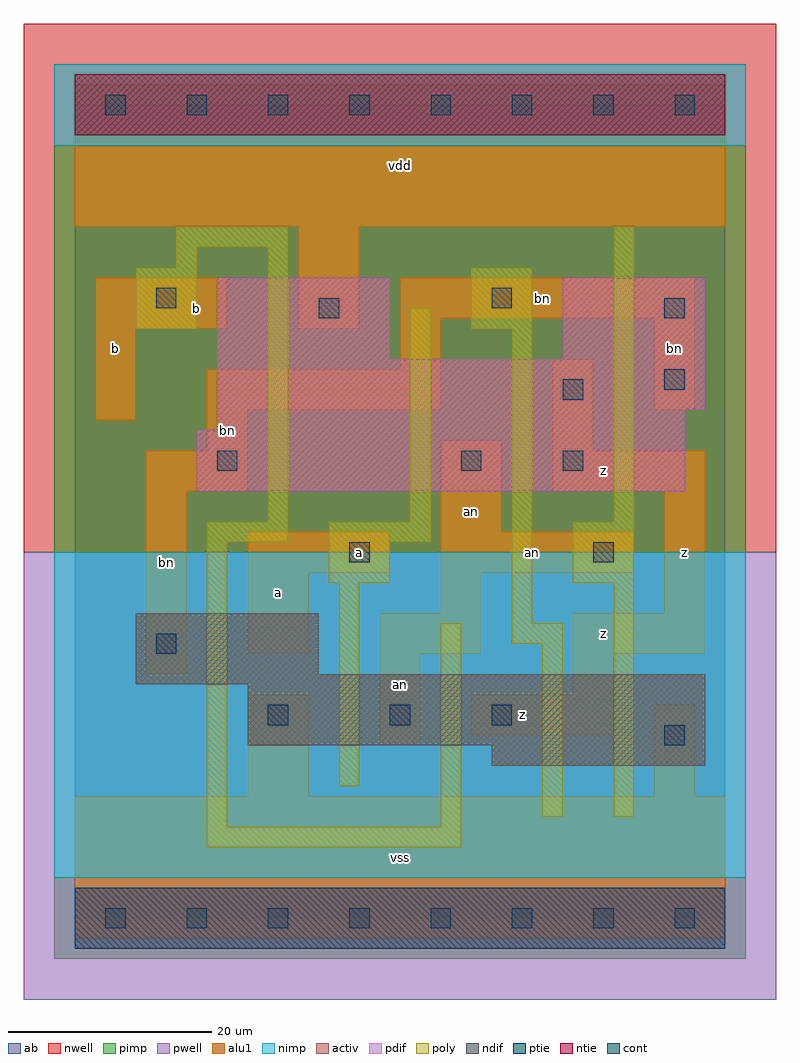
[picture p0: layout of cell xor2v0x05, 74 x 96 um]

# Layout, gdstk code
import gdstk
lib = gdstk.Library(unit=1e-6, precision=1e-09)
def R(c, l, rs):  # rectangles x0, y0, x1, y1
    for r in rs: c.add(gdstk.rectangle(r[:2], r[2:], *l))
def A(c, l, x, y, w, h, nx, ny, dx, dy):  # array of equal rectangles
    R(c, l, [(x+i*dx, y+j*dy, x+i*dx+w, y+j*dy+h) for i in range(nx) for j in range(ny)])
ndif = (3, 0)
pdif = (4, 0)
ntie = (5, 0)
ptie = (6, 0)
cont = (25, 0)
pwell = (41, 0)
nwell = (42, 0)
activ = (43, 0)
pimp = (44, 0)
nimp = (45, 0)
poly = (46, 0)
alu1 = (49, 0)
ab = (63, 0)

xor2v0x05 = lib.new_cell('xor2v0x05')
R(xor2v0x05, ndif, [(41,15,62,17), (17,17,62,23), (6,23,62,24), (6,24,24,30)])
R(xor2v0x05, pdif, [(12,42,60,48), (14,48,60,50), (14,50,62,55), (14,55,31,63), (48,55,62,63)])
R(xor2v0x05, ntie, [(0,77,64,83)])
R(xor2v0x05, ptie, [(0,-3,64,3)])
A(xor2v0x05, cont, 3, -1, 2, 2, 8, 2, 8, 80)
R(xor2v0x05, cont, [(58,17,60,19), (19,19,21,21), (31,19,33,21), (41,19,43,21), (8,26,10,28), (27,35,29,37), (51,35,53,37), (14,44,16,46), (38,44,40,46), (48,44,50,46), (48,51,50,53), (58,52,60,54), (24,59,26,61), (58,59,60,61), (8,60,10,62), (41,60,43,62)])
R(xor2v0x05, pwell, [(-5,-8,69,36)])
R(xor2v0x05, nwell, [(-5,36,69,88)])
R(xor2v0x05, activ, [(0,-3,64,3), (41,15,62,17), (17,17,62,23), (6,23,62,24), (6,24,24,30), (12,42,60,48), (14,48,60,50), (14,50,62,55), (14,55,31,63), (48,55,62,63), (0,77,64,83)])
R(xor2v0x05, pimp, [(-2,-4,66,4), (-2,36,66,76)])
R(xor2v0x05, nimp, [(-2,4,66,36), (-2,76,66,84)])
R(xor2v0x05, poly, [(13,7,38,9), (13,9,15,37), (36,9,38,29), (46,10,48,27), (53,10,55,33), (26,13,28,33), (43,27,48,29), (43,29,45,58), (25,33,31,37), (49,33,55,39), (13,37,21,39), (25,37,35,39), (19,39,21,66), (33,39,35,60), (53,39,55,68), (6,58,12,64), (39,58,45,64), (10,64,12,66), (10,66,21,68)])
R(xor2v0x05, alu1, [(0,-2,64,12), (17,12,23,22), (57,12,61,21), (30,17,34,26), (39,18,53,22), (49,22,53,26), (7,24,11,42), (17,26,23,34), (30,26,40,30), (49,26,62,30), (36,30,40,34), (58,30,62,42), (17,34,31,38), (36,34,55,38), (36,38,42,47), (7,42,17,46), (47,42,62,46), (13,46,17,50), (47,46,51,55), (2,49,6,58), (13,50,36,54), (57,50,61,59), (32,54,36,59), (2,58,15,63), (22,58,28,68), (32,59,61,63), (0,68,64,82)])
R(xor2v0x05, ab, [(0,0,64,80)])
xor2v0x05.add(gdstk.Label('bn', (9,35), layer=49, texttype=0))
xor2v0x05.add(gdstk.Label('bn', (15,48), layer=49, texttype=0))
xor2v0x05.add(gdstk.Label('an', (32,23), layer=49, texttype=0))
xor2v0x05.add(gdstk.Label('an', (39,40), layer=49, texttype=0))
xor2v0x05.add(gdstk.Label('an', (45,36), layer=49, texttype=0))
xor2v0x05.add(gdstk.Label('bn', (59,56), layer=49, texttype=0))
xor2v0x05.add(gdstk.Label('bn', (46,61), layer=49, texttype=0))
xor2v0x05.add(gdstk.Label('b', (4,56), layer=49, texttype=0))
xor2v0x05.add(gdstk.Label('b', (12,60), layer=49, texttype=0))
xor2v0x05.add(gdstk.Label('a', (20,32), layer=49, texttype=0))
xor2v0x05.add(gdstk.Label('a', (28,36), layer=49, texttype=0))
xor2v0x05.add(gdstk.Label('vss', (32,6), layer=49, texttype=0))
xor2v0x05.add(gdstk.Label('z', (44,20), layer=49, texttype=0))
xor2v0x05.add(gdstk.Label('vdd', (32,74), layer=49, texttype=0))
xor2v0x05.add(gdstk.Label('z', (52,28), layer=49, texttype=0))
xor2v0x05.add(gdstk.Label('z', (60,36), layer=49, texttype=0))
xor2v0x05.add(gdstk.Label('z', (52,44), layer=49, texttype=0))

lib.write_gds('xor2v0x05.gds')
